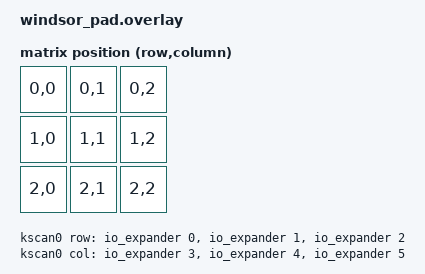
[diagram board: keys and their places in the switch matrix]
#include <dt-bindings/zmk/matrix_transform.h>
#include <dt-bindings/gpio/gpio.h>

/ {
    chosen {
        zmk,kscan = &kscan0;
        zmk,matrix_transform = &default_transform;
    };

    default_transform: keymap_transform_0 {
        compatible = "zmk,matrix-transform";
        columns = <3>;
        rows = <3>;
        map = <
            RC(0,0) RC(0,1) RC(0,2)
            RC(1,0) RC(1,1) RC(1,2)
            RC(2,0) RC(2,1) RC(2,2)
        >;
    };

    kscan0: kscan_0 {
        compatible = "zmk,kscan-gpio-matrix";
        wakeup-source;
        
        diode-direction = "row2col";
        
        // Removed poll-period-ms to allow ZMK to default to interrupt-driven scanning

        // Rows are Outputs
        row-gpios
            = <&io_expander 0 GPIO_ACTIVE_HIGH>
            , <&io_expander 1 GPIO_ACTIVE_HIGH>
            , <&io_expander 2 GPIO_ACTIVE_HIGH>
            ;

        // Columns are Inputs (Requires external 470-ohm pull-downs to GND)
        col-gpios
            = <&io_expander 3 GPIO_ACTIVE_HIGH>
            , <&io_expander 4 GPIO_ACTIVE_HIGH>
            , <&io_expander 5 GPIO_ACTIVE_HIGH>
            ;
    };
};

&xiao_i2c {
    status = "okay";
    clock-frequency = <I2C_BITRATE_STANDARD>; 

    io_expander: tca9555@20 {
        compatible = "nxp,pca95xx";
        status = "okay"; 
        reg = <0x20>; 
        gpio-controller;
        #gpio-cells = <2>;
        ngpios = <16>; 

        // --- INTERRUPT CONFIGURATION ---
        interrupt-controller;
        #interrupt-cells = <2>;

        // FIX: Use interrupt-gpios instead of interrupt-parent / interrupts
        // Replace &gpio0 and 17 with your actual port and pin number
        interrupt-gpios = <&gpio0 17 (GPIO_ACTIVE_LOW | GPIO_PULL_UP)>; 
    };
};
